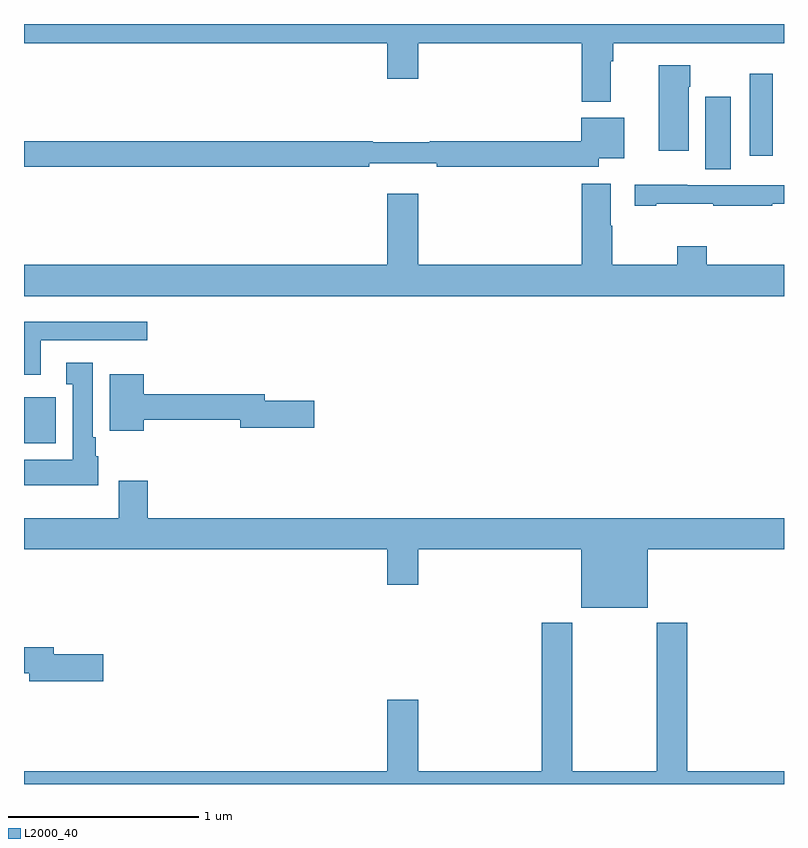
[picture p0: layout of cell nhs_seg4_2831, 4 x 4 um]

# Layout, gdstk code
import gdstk
lib = gdstk.Library(unit=1e-6, precision=1e-09)
def R(c, l, rs):  # rectangles x0, y0, x1, y1
    for r in rs: c.add(gdstk.rectangle(r[:2], r[2:], *l))
def P(c, l, *ps):  # polygons
    for p in ps: c.add(gdstk.Polygon(p, *l))
L2000_40 = (2000, 40)

nhs_seg4_2831 = lib.new_cell('nhs_seg4_2831')
R(nhs_seg4_2831, L2000_40, [(259,814.694,259.168,814.936), (262.586,816.136,262.72,816.517), (262.82,816.207,262.942,816.637)])
P(nhs_seg4_2831, L2000_40, [(262.087,816.704),(262.1,816.704),(262.1,816.8),(263,816.8),(263,816.9),(259,816.9),(259,816.8),(260.912,816.8),(260.912,816.612),(261.076,816.612),(261.076,816.8),(261.935,816.8),(261.935,816.491),(262.087,816.491)],
  [(262.498,816.569),(262.506,816.569),(262.506,816.682),(262.34,816.682),(262.34,816.234),(262.498,816.234)],
  [(260.816,816.167),(261.172,816.167),(261.172,816.148),(262.026,816.148),(262.026,816.194),(262.159,816.194),(262.159,816.406),(261.932,816.406),(261.932,816.284),(261.136,816.284),(261.136,816.277),(260.836,816.277),(260.836,816.284),(259,816.284),(259,816.148),(260.816,816.148)],
  [(263,815.632),(262.593,815.632),(262.593,815.731),(262.438,815.731),(262.438,815.632),(262.095,815.632),(262.095,815.837),(262.087,815.837),(262.087,816.058),(261.935,816.058),(261.935,815.632),(261.076,815.632),(261.076,816.007),(260.912,816.007),(260.912,815.632),(259,815.632),(259,815.468),(263,815.468)],
  [(262.327,815.953),(262.627,815.953),(262.627,815.943),(262.937,815.943),(262.937,815.953),(263,815.953),(263,816.052),(262.824,816.052),(262.824,816.051),(262.49,816.051),(262.49,816.053),(262.215,816.053),(262.215,815.943),(262.327,815.943)],
  [(259.087,815.235),(259.648,815.235),(259.648,815.332),(259,815.332),(259,815.054),(259.087,815.054)],
  [(259.39,814.626),(259.378,814.626),(259.378,814.726),(259.363,814.726),(259.363,815.116),(259.223,815.116),(259.223,815.003),(259.256,815.003),(259.256,814.606),(259,814.606),(259,814.472),(259.39,814.472)],
  [(259.63,814.816),(260.138,814.816),(260.138,814.774),(260.527,814.774),(260.527,814.916),(260.266,814.916),(260.266,814.952),(259.63,814.952),(259.63,815.056),(259.451,815.056),(259.451,814.76),(259.63,814.76)],
  [(262.282,814.136),(263,814.136),(263,814.3),(259.652,814.3),(259.652,814.495),(259.499,814.495),(259.499,814.3),(259,814.3),(259,814.136),(260.912,814.136),(260.912,813.948),(261.076,813.948),(261.076,814.136),(261.932,814.136),(261.932,813.827),(262.282,813.827)],
  [(263,812.968),(262.49,812.968),(262.49,813.748),(262.33,813.748),(262.33,812.968),(261.885,812.968),(261.885,813.748),(261.725,813.748),(261.725,812.968),(261.076,812.968),(261.076,813.343),(260.912,813.343),(260.912,812.968),(259,812.968),(259,812.9),(263,812.9)],
  [(259.416,813.584),(259.156,813.584),(259.156,813.62),(259,813.62),(259,813.484),(259.028,813.484),(259.028,813.442),(259.416,813.442)])

lib.write_gds('nhs_seg4_2831.gds')
